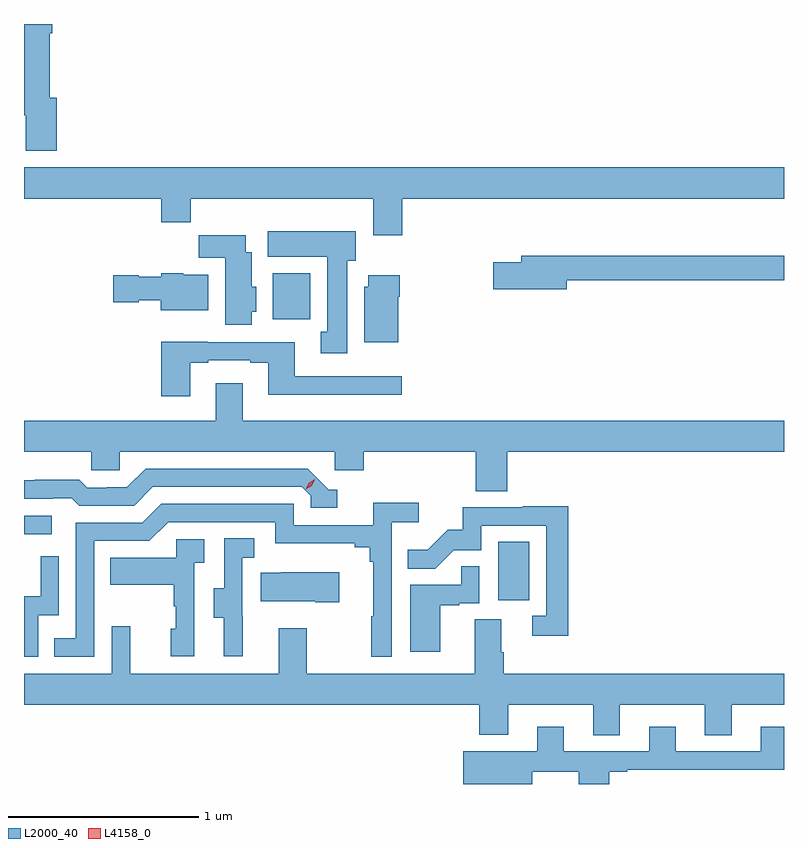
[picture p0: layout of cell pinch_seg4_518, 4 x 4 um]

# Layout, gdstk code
import gdstk
lib = gdstk.Library(unit=1e-6, precision=1e-09)
def R(c, l, rs):  # rectangles x0, y0, x1, y1
    for r in rs: c.add(gdstk.rectangle(r[:2], r[2:], *l))
def P(c, l, *ps):  # polygons
    for p in ps: c.add(gdstk.Polygon(p, *l))
L2000_40 = (2000, 40)
L4158_0 = (4158, 0)

pinch_seg4_518 = lib.new_cell('pinch_seg4_518')
R(pinch_seg4_518, L2000_40, [(982.988,750.75,983.152,751.057), (980.493,751.098,980.638,751.194), (981.803,752.228,982,752.47)])
P(pinch_seg4_518, L2000_40, [(980.666,753.396),(980.629,753.396),(980.629,753.734),(980.642,753.734),(980.642,753.783),(980.493,753.783),(980.493,753.303),(980.501,753.303),(980.501,753.117),(980.666,753.117)],
  [(982.484,752.864),(984.493,752.864),(984.493,753.028),(980.493,753.028),(980.493,752.864),(981.215,752.864),(981.215,752.74),(981.371,752.74),(981.371,752.864),(982.331,752.864),(982.331,752.67),(982.484,752.67)],
  [(982.195,752.538),(982.24,752.538),(982.24,752.692),(981.776,752.692),(981.776,752.558),(982.088,752.558),(982.088,752.162),(982.055,752.162),(982.055,752.049),(982.195,752.049)],
  [(981.691,752.268),(981.715,752.268),(981.715,752.4),(981.691,752.4),(981.691,752.581),(981.661,752.581),(981.661,752.671),(981.412,752.671),(981.412,752.552),(981.551,752.552),(981.551,752.201),(981.691,752.201)],
  [(983.35,752.434),(984.493,752.434),(984.493,752.563),(983.111,752.563),(983.111,752.529),(982.962,752.529),(982.962,752.387),(983.35,752.387)],
  [(981.463,752.464),(981.33,752.464),(981.33,752.47),(981.216,752.47),(981.216,752.452),(981.096,752.452),(981.096,752.46),(980.964,752.46),(980.964,752.318),(981.096,752.318),(981.096,752.33),(981.212,752.33),(981.212,752.276),(981.463,752.276)],
  [(982.462,752.348),(982.47,752.348),(982.47,752.461),(982.304,752.461),(982.304,752.4),(982.283,752.4),(982.283,752.108),(982.462,752.108)],
  [(981.367,752.001),(981.463,752.001),(981.463,752.013),(981.683,752.013),(981.683,752.001),(981.779,752.001),(981.779,751.832),(982.48,751.832),(982.48,751.929),(981.919,751.929),(981.919,752.109),(981.459,752.109),(981.459,752.11),(981.215,752.11),(981.215,751.824),(981.367,751.824)],
  [(981.503,751.891),(981.503,751.696),(980.493,751.696),(980.493,751.532),(980.847,751.532),(980.847,751.434),(980.997,751.434),(980.997,751.532),(982.128,751.532),(982.128,751.434),(982.28,751.434),(982.28,751.532),(982.871,751.532),(982.871,751.324),(983.036,751.324),(983.036,751.532),(984.493,751.532),(984.493,751.696),(981.643,751.696),(981.643,751.891)],
  [(982.141,751.332),(982.098,751.332),(981.987,751.443),(981.134,751.443),(981.035,751.344),(980.928,751.344),(980.928,751.341),(980.825,751.341),(980.783,751.384),(980.55,751.384),(980.55,751.381),(980.493,751.381),(980.493,751.284),(980.645,751.284),(980.645,751.287),(980.744,751.287),(980.783,751.248),(981.072,751.248),(981.171,751.347),(981.954,751.347),(982.002,751.299),(982.002,751.236),(982.141,751.236)],
  [(980.862,751.062),(981.153,751.062),(981.252,751.161),(981.816,751.161),(981.816,751.049),(982.235,751.049),(982.235,751.03),(982.312,751.03),(982.312,750.953),(982.331,750.953),(982.331,750.665),(982.32,750.665),(982.32,750.453),(982.428,750.453),(982.428,751.16),(982.57,751.16),(982.57,751.262),(982.331,751.262),(982.331,751.146),(981.912,751.146),(981.912,751.257),(981.215,751.257),(981.116,751.158),(980.766,751.158),(980.766,750.549),(980.653,750.549),(980.653,750.453),(980.862,750.453)],
  [(983.357,751.244),(983.119,751.244),(983.119,751.239),(982.801,751.239),(982.801,751.122),(982.724,751.122),(982.617,751.015),(982.513,751.015),(982.513,750.916),(982.657,750.916),(982.755,751.014),(982.899,751.014),(982.899,751.143),(983.241,751.143),(983.241,750.669),(983.169,750.669),(983.169,750.564),(983.357,750.564)],
  [(981.644,750.669),(981.642,750.669),(981.642,750.973),(981.706,750.973),(981.706,751.076),(981.546,751.076),(981.546,750.813),(981.491,750.813),(981.491,750.658),(981.545,750.658),(981.545,750.456),(981.644,750.456)],
  [(981.39,750.947),(981.442,750.947),(981.442,751.071),(981.294,751.071),(981.294,750.973),(980.947,750.973),(980.947,750.833),(981.282,750.833),(981.282,750.719),(981.292,750.719),(981.292,750.6),(981.266,750.6),(981.266,750.456),(981.39,750.456)],
  [(980.568,750.672),(980.676,750.672),(980.676,750.982),(980.58,750.982),(980.58,750.77),(980.493,750.77),(980.493,750.453),(980.568,750.453)],
  [(982.684,750.723),(982.784,750.723),(982.784,750.735),(982.89,750.735),(982.89,750.929),(982.795,750.929),(982.795,750.831),(982.526,750.831),(982.526,750.48),(982.684,750.48)],
  [(982.153,750.898),(981.847,750.898),(981.847,750.895),(981.739,750.895),(981.739,750.746),(982.025,750.746),(982.025,750.739),(982.153,750.739)],
  [(983.629,750.2),(984.077,750.2),(984.077,750.04),(984.217,750.04),(984.217,750.2),(984.493,750.2),(984.493,750.364),(983.018,750.364),(983.018,750.476),(983.005,750.476),(983.005,750.65),(982.865,750.65),(982.865,750.364),(981.981,750.364),(981.981,750.604),(981.833,750.604),(981.833,750.364),(981.053,750.364),(981.053,750.613),(980.955,750.613),(980.955,750.364),(980.493,750.364),(980.493,750.2),(982.889,750.2),(982.889,750.041),(983.041,750.041),(983.041,750.2),(983.489,750.2),(983.489,750.04),(983.629,750.04)],
  [(983.167,749.847),(983.414,749.847),(983.414,749.783),(983.572,749.783),(983.572,749.847),(983.668,749.847),(983.668,749.859),(984.493,749.859),(984.493,750.085),(984.371,750.085),(984.371,749.955),(983.923,749.955),(983.923,750.085),(983.783,750.085),(983.783,749.955),(983.335,749.955),(983.335,750.085),(983.195,750.085),(983.195,749.956),(982.805,749.956),(982.805,749.783),(983.167,749.783)])
P(pinch_seg4_518, L4158_0, [(981.976,751.334),(981.976,751.334),(981.992,751.367),(982.023,751.387),(982.023,751.387),(982.023,751.387),(982.007,751.354),(981.977,751.334)])

lib.write_gds('pinch_seg4_518.gds')
